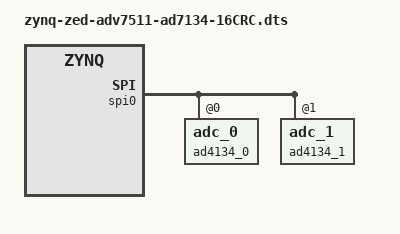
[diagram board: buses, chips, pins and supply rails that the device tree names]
// SPDX-License-Identifier: GPL-2.0-or-later
/*
 * Analog Devices AD7134
 * https://wiki.analog.com/resources/tools-software/linux-drivers/iio-adc/ad4134
 * https://wiki.analog.com/resources/eval/user-guides/ad4134
 *
 * hdl_project: <ad7134_fmc/zed>
 *
 * Copyright (C) 2024 Analog Devices, Inc.
 */
/dts-v1/;

#include "zynq-zed-adv7511-ad7134-24.dts"

&spi0 {
	status = "okay";

    ad4134_0: adc_0@0 {
        ad7134,adc-frame = "ad7134_16CRC";
    };

    ad4134_1: adc_1@1 {
        ad7134,adc-frame = "ad7134_16CRC";
    };
};
